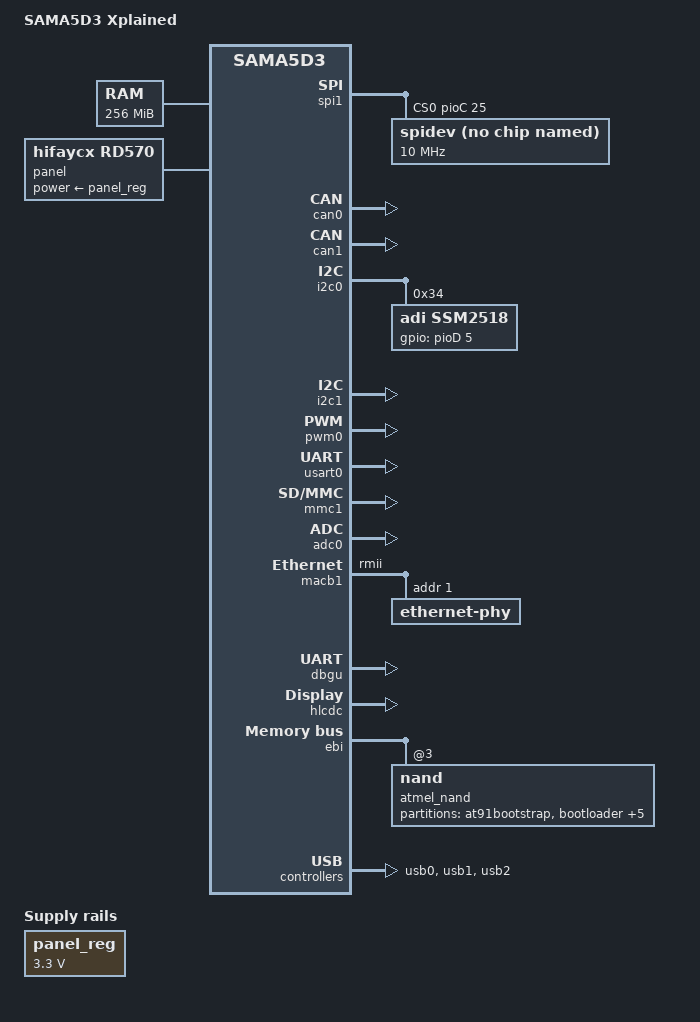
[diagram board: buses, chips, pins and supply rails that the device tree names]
/*
 * at91-sama5d3_thor-nxt3.dts - Device Tree file for the THOR-NX-T3 reference board.
 *
 *  Copyright (C) 2021 Thor Engineering GmbH,
 *  2021 Roy Schneider <roy@thor.engineering>
 *
 * Licensed under GPLv2 or later.
 *
 * Based on the work of Nicolas Ferre <nicolas.ferre@atmel.com>
 */

/dts-v1/;
#include "sama5d36.dtsi"

/ {
	model = "SAMA5D3 Xplained";
	compatible = "atmel,sama5d3-xplained", "atmel,sama5d3", "atmel,sama5";

	chosen {
		stdout-path = "serial0:115200n8";
	};

	memory {
		reg = <0x20000000 0x10000000>;
	};

	clocks {
		slow_xtal {
			clock-frequency = <32768>;
		};

		main_xtal {
			clock-frequency = <12000000>;
		};
	};

	ahb {
		apb {
			spi0: spi@f0004000 {
				cs-gpios = <&pioD 13 0>, <0>, <0>, <&pioD 16 0>;
				status = "disabled";
				pinctrl-names = "default", "cs";
				pinctrl-1 = <&pinctrl_spi0_cs>;
				dmas = <0>, <0>;
			};

			spi1: spi@f8008000 {
				cs-gpios = <&pioC 25 0>;
				pinctrl-names = "default", "cs";
				pinctrl-1 = <&pinctrl_spi1_cs>;
				dmas = <0>, <0>;
				status = "okay";
				spidev@0 {
					compatible = "linux,spidev";
					spi-max-frequency = <10000000>;
					reg = <0>;
				};
			};

			ssc0: ssc@f0008000 {
				status = "disabled";
				dmas = <0>, <0>;
			};

			ssc1: ssc@f800c000 {
				status = "okay";
			};

			can0: can@f000c000 {
				status = "okay";
			};

			can1: can@f8010000 {
				status = "okay";
			};

			i2c0: i2c@f0014000 {
				status = "okay";
				
				ssm2518: ssm2518@34 {
					compatible = "adi,ssm2518";
					reg = <0x34>;
					gpios = <&pioD 5 0>;
				};
			};

			i2c1: i2c@f0018000 {
				status = "okay";

				pmic: act8865@5b {
					compatible = "active-semi,act8865";
					reg = <0x5b>;
					status = "disabled";

					regulators {
						vcc_1v8_reg: DCDC_REG1 {
							regulator-name = "VCC_1V8";
							regulator-min-microvolt = <1800000>;
							regulator-max-microvolt = <1800000>;
							regulator-always-on;
						};

						vcc_1v2_reg: DCDC_REG2 {
							regulator-name = "VCC_1V2";
							regulator-min-microvolt = <1200000>;
							regulator-max-microvolt = <1200000>;
							regulator-always-on;
						};

						vcc_3v3_reg: DCDC_REG3 {
							regulator-name = "VCC_3V3";
							regulator-min-microvolt = <3300000>;
							regulator-max-microvolt = <3300000>;
							regulator-always-on;
						};

						vddfuse_reg: LDO_REG1 {
							regulator-name = "FUSE_2V5";
							regulator-min-microvolt = <2500000>;
							regulator-max-microvolt = <2500000>;
						};

						vddana_reg: LDO_REG2 {
							regulator-name = "VDDANA";
							regulator-min-microvolt = <3300000>;
							regulator-max-microvolt = <3300000>;
							regulator-always-on;
						};
					};
				};
			};

			macb0: ethernet@f0028000 {
				phy-mode = "rgmii";
				status = "disabled";
			};
			
			pwm0: pwm@f002c000 {
				pinctrl-names = "default";
				pinctrl-0 = <
						&pinctrl_pwm0_pwmh1_1 &pinctrl_pwm0_pwml1_1
						&pinctrl_pwm0_pwmh2_0 &pinctrl_pwm0_pwml2_0
						>;
				status = "okay";
			};

			usart0: serial@f001c000 {
				status = "okay";
			};

			usart1: serial@f0020000 {
				dmas = <0>, <0>;
				status = "disabled";
			};

			uart0: serial@f0024000 {
				status = "disabled";
			};

			mmc1: mmc@f8000000 {
				pinctrl-0 = <&pinctrl_mmc1_clk_cmd_dat0 &pinctrl_mmc1_dat1_3 &pinctrl_mmc1_cd>;
				status = "okay";
				slot@0 {
					reg = <0>;
					bus-width = <4>;
					cd-gpios = <&pioE 1 GPIO_ACTIVE_HIGH>;
				};
			};

			watchdog@fffffe40 {
				status = "okay";
			};

			adc0: adc@f8018000 {
				pinctrl-0 = <
					&pinctrl_adc0_adtrg
					&pinctrl_adc0_ad0
					&pinctrl_adc0_ad1
					&pinctrl_adc0_ad2
					&pinctrl_adc0_ad3
					&pinctrl_adc0_ad4
					&pinctrl_adc0_ad5
					&pinctrl_adc0_ad6
					&pinctrl_adc0_ad7
					&pinctrl_adc0_ad8
					&pinctrl_adc0_ad9
					>;
				status = "okay";
			};

			macb1: ethernet@f802c000 {
				phy-mode = "rmii";
				#address-cells = <1>;
				#size-cells = <0>;
				status = "okay";
				ethernet-phy@1 {
					reg = <0x1>;
				};
			};

			aes: crypto@f8038000 {
				dmas = <0>, <0>;	/* Do not use DMA for aes */
				status = "disabled";
			};

			dbgu: serial@ffffee00 {
				status = "okay";
			};

			usart2: serial@f8020000 {
				dmas = <0>, <0>;
				status = "disabled";
			};

			usart3: serial@f8024000 {
				dmas = <0>, <0>;
				status = "disabled";
			};

			i2c2: i2c@f801c000 {
				dmas = <0>, <0>;
				status = "disabled";
			};

			pinctrl@fffff200 {
				board {
					pinctrl_i2c0_pu: i2c0_pu {
						atmel,pins =
							<AT91_PIOA 30 AT91_PERIPH_A AT91_PINCTRL_PULL_UP>,
							<AT91_PIOA 31 AT91_PERIPH_A AT91_PINCTRL_PULL_UP>;
					};

					pinctrl_mmc1_cd: mmc1_cd {
						atmel,pins =
							<AT91_PIOE 1 AT91_PERIPH_GPIO AT91_PINCTRL_PULL_UP_DEGLITCH>;
					};

					pinctrl_usba_vbus: usba_vbus {
						atmel,pins =
							<AT91_PIOE 9 AT91_PERIPH_GPIO AT91_PINCTRL_DEGLITCH>;	/* PE9, conflicts with A9 */
					};

					pinctrl_spi0_cs: spi0_cs_default {
						atmel,pins =
							<AT91_PIOD 13 AT91_PERIPH_GPIO AT91_PINCTRL_NONE
							 AT91_PIOD 16 AT91_PERIPH_GPIO AT91_PINCTRL_NONE>;
					};

					pinctrl_spi1_cs: spi1_cs_default {
						atmel,pins = <AT91_PIOC 25 AT91_PERIPH_GPIO AT91_PINCTRL_NONE>;
					};
				};
			};
			
			pmc: pmc@fffffc00 {
				main: mainck {
					clock-frequency = <12000000>;
				};
			};

			sound {
				compatible = "atmel,asoc-ssm2518";

				atmel,model = "ssm2518THORNXT";
				atmel,audio-routing =
					"Speaker Out", "OUTL",
					"Speaker Out", "OUTR";

				atmel,ssc-controller = <&ssc1>;
				atmel,audio-codec = <&ssm2518>;

				clock-names = "mclk";

				status = "okay";
			};

			hlcdc: hlcdc@f0030000 {
				status = "okay";

				hlcdc-display-controller {
					pinctrl-names = "default";
					pinctrl-0 = <&pinctrl_lcd_base &pinctrl_lcd_rgb888>;

					port@0 {
						hlcdc_panel_output: endpoint@0 {
							reg = <0>;
							remote-endpoint = <&panel_input>;
						};
					};

				};

			};
		};

		ebi: ebi@10000000 {
			pinctrl-0 = <&pinctrl_ebi_nand_addr>;
			pinctrl-names = "default";
			status = "okay";

			nand_controller: nand-controller {
				status = "okay";

				nand@3 {
					reg = <0x3 0x0 0x2>;
					atmel,rb = <0>;
					nand-bus-width = <8>;
					nand-ecc-mode = "hw";
					nand-ecc-strength = <4>;
					nand-ecc-step-size = <512>;
					nand-on-flash-bbt;
					label = "atmel_nand";

					partitions {
						compatible = "fixed-partitions";
						#address-cells = <1>;
						#size-cells = <1>;

						at91bootstrap@0 {
							label = "at91bootstrap";
							reg = <0x0 0x10000>;
						};

						bootloader@40000 {
							label = "bootloader";
							reg = <0x10000 0xc0000>;
						};

						bootloaderenvred@100000 {
							label = "bootloader env redundant";
							reg = <0x100000 0x40000>;
						};

						bootloaderenv@140000 {
							label = "bootloader env";
							reg = <0x140000 0x40000>;
						};

						dtb@180000 {
							label = "device tree";
							reg = <0x180000 0x80000>;
						};

						kernel@200000 {
							label = "kernel";
							reg = <0x200000 0x600000>;
						};

						rootfs@800000 {
							label = "rootfs";
							reg = <0x800000 0x0f800000>;
						};
					};
				};
			};
		};

		usb0: gadget@500000 {
			atmel,vbus-gpio = <&pioE 9 GPIO_ACTIVE_HIGH>;	/* PE9, conflicts with A9 */
			pinctrl-names = "default";
			pinctrl-0 = <&pinctrl_usba_vbus>;
			status = "okay";
		};

		usb1: ohci@600000 {
			num-ports = <3>;
			atmel,vbus-gpio = <0
					   &pioE 3 GPIO_ACTIVE_LOW
					   &pioE 4 GPIO_ACTIVE_LOW
					  >;
			status = "okay";
		};

		usb2: ehci@700000 {
			status = "okay";
		};

	};
	
	panel: panel {
		compatible = "hifaycx,rd570", "simple-panel";
		power-supply = <&panel_reg>;
		#address-cells = <1>;
		#size-cells = <0>;
		status = "okay";

		port@0 {
			reg = <0>;
			#address-cells = <1>;
			#size-cells = <0>;

			panel_input: endpoint@0 {
				reg = <0>;
			};
		};
	};

	panel_reg: panel_regulator {
		compatible = "regulator-fixed";
		regulator-name = "panel-power-supply";
		regulator-min-microvolt = <3300000>;
		regulator-max-microvolt = <3300000>;
		status = "okay";
	};

};
